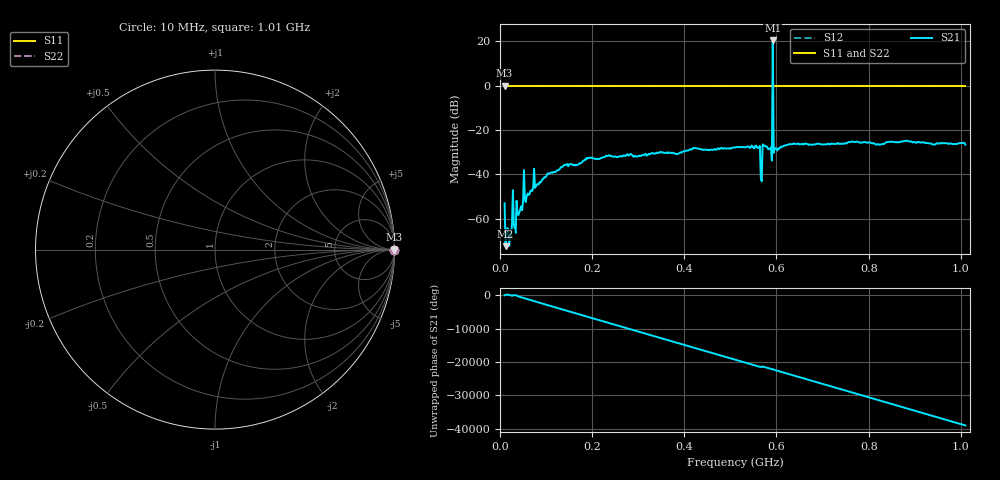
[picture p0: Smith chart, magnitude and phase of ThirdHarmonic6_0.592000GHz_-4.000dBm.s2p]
! 8/15/2025 7:13:25 PM
! C:\ANRITSUVNA\TEMP\TEMP.S2P
! CHANNEL.1
! TR.MEASUREMENT
! RAW.DATA
! RF.CORRECTION.OFF
! AVERAGING.OFF
! IF.BANDWIDTH: 5KHZ
! SWEEPTYPE:  FREQ.SWEEP(Linear)
! Reference Plane Port Info
! PORT:  PORT1  PORT2
! DISTANCE:  0  m  0  m
! TIME:  0  s  0  s
! PHASE.OFFSET:  0  deg.  0  deg.
! LOSS:  0  dB  0  dB
! REF.LOSS:  0  dB  0  dB
! REF.FREQ:  0  Hz  0  Hz
! Power Info
! POWER:  -20  dBm  -20  dBm
! EFF.POWER:  -20  dBm  -20  dBm
! SOURCE.ATTEN:  0  dB  0  dB
! TEST.ATTEN:  0  dB  0  dB
# GHZ S RI R 50.0
! FREQ.GHZ  S11RE  S11IM  S21RE  S21IM  S12RE  S12IM  S22RE  S22IM
!; PortSelection: Port_12
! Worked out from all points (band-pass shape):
!   501 points, 10 MHz to 1.01 GHz, reference 50 ohm
!   highest |S21| = 20.45 dB at 592 MHz (marker M1); lowest = -72.4 dB at 12 MHz (marker M2)
!   |S21| within 3 dB of the highest: 591.8893 MHz to 592.1183 MHz (229 kHz wide, 0.0387 % of centre)
!   lowest |S11| = 0.0 dB at 10 MHz (marker M3)
!   |S11| at or under -10 dB: nowhere
!   |S22| runs from 0.0 to 0.0 dB; largest |S21 - S12| = 11
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0.01  1 0  0.000951 0.00201  1 0  1 0
0.012  1 0  -0.000239 3.03e-05  1 0  1 0
0.016  1 0  -6.29e-05 -0.000613  1 0  1 0
0.022  1 0  3.5e-06 0.000438  1 0  1 0
0.026  1 0  -0.000512 -0.000562  1 0  1 0
0.05  1 0  0.00244 -0.000275  1 0  1 0
0.076  1 0  0.00496 0.000289  1 0  1 0
0.178  1 0  -0.0184 -0.00394  1 0  1 0
0.344  1 0  0.0292 -0.00835  1 0  1 0
0.51  1 0  -0.0366 0.0167  1 0  1 0
0.56  1 0  0.0228 -0.0329  1 0  1 0
0.564  1 0  -0.0368 0.0239  1 0  1 0
0.57  1 0  -0.00615 -0.0473  1 0  1 0
0.574  1 0  -0.00564 0.0435  1 0  1 0
0.586  1 0  0.036 -0.0132  1 0  1 0
0.588  1 0  -0.00736 -0.0405  1 0  1 0
0.592  1 0  -9.706 -4.088  1 0  1 0
0.596  1 0  0.0185 -0.0351  1 0  1 0
0.598  1 0  -0.0306 -0.0231  1 0  1 0
0.678  1 0  -0.0245 -0.0393  1 0  1 0
0.844  1 0  0.0424 0.0344  1 0  1 0
1.01  1 0  -0.0462 -0.00657  1 0  1 0
